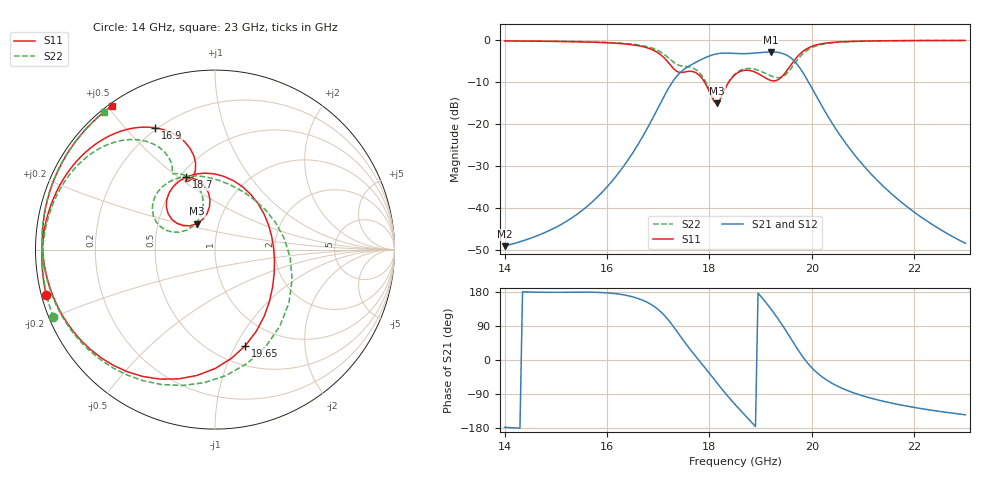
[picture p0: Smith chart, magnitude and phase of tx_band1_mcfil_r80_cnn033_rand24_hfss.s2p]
! Touchstone file exported from HFSS 3D Layout Design 2026.1.0
!  File:  D:/Work/SIM/ADS_AUTO_SIM/projects/RFSOC_RF/TX_Fillter.aedt
!  Generated:  11:14:13 AM Aug 31, 2026
!  Design:  TX_BAND1_MCFIL_R80_CNN033
!  Project:  TX_Fillter
# GHz S MA R 50.000000
! Terminal data exported
! Port[1] = Port1
! Port[2] = Port2
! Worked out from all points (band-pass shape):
!   181 points, 14 GHz to 23 GHz, reference 50 ohm
!   highest |S21| = -2.87 dB at 19.2 GHz (marker M1); lowest = -49.2 dB at 14 GHz (marker M2)
!   |S21| within 3 dB of the highest: 17.65 GHz to 19.72 GHz (2.063 GHz wide, 11 % of centre)
!   lowest |S11| = -15.1 dB at 18.15 GHz (marker M3), VSWR 1.43, Z = 39.3 + j11.8 ohm
!   |S11| at or under -10 dB: 17.9 GHz to 18.38 GHz (479.7 MHz wide, 2.64 % of centre)
!   |S22| runs from -14.9 to -0.1 dB; largest |S21 - S12| = 3.6e-15
!   S11 on the Smith chart (normalised r, x): 14 GHz: 0.01, -0.13; 16.9 GHz: 0.19, +0.61; 18.7 GHz: 0.54, +0.53; 19.65 GHz: 0.70, -1.10; 23 GHz: 0.01, +0.51
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14  0.9734 -165.0  0.003474 -177.6  0.003474 -177.6  0.9757 -157.3
15.5  0.9475 164.9  0.009121 179.0  0.009121 179.0  0.9527 173.9
16.3  0.9004 142.4  0.02973 172.5  0.02973 172.5  0.9122 153.0
16.9  0.7565 116.2  0.1188 143.2  0.1188 143.2  0.7918 129.6
17  0.6991 110.8  0.156 133.2  0.156 133.2  0.7445 124.8
17.25  0.4924 102.7  0.2968 96.9  0.2968 96.9  0.5754 116.6
17.5  0.4123 113.0  0.4435 50.1  0.4435 50.1  0.4853 119.3
17.85  0.3521 98.6  0.587 -9.8  0.587 -9.8  0.377 105.6
18.15  0.1763 124.6  0.6834 -60.7  0.6834 -60.7  0.1792 132.7
18.3  0.2569 145.4  0.6967 -85.9  0.6967 -85.9  0.2567 157.8
18.5  0.3854 134.3  0.6901 -117.2  0.6901 -117.2  0.3923 151.2
18.7  0.4349 111.7  0.6862 -146.4  0.6862 -146.4  0.4533 134.3
18.95  0.3976 75.1  0.7022 176.5  0.7022 176.5  0.4356 109.7
19.2  0.3283 24.7  0.7186 135.0  0.7186 135.0  0.373 78.7
19.45  0.3839 -33.4  0.6831 86.8  0.6831 86.8  0.3698 23.8
19.65  0.5613 -72.5  0.5669 43.9  0.5669 43.9  0.508 -35.9
19.85  0.7486 -105.8  0.3865 3.7  0.3865 3.7  0.7046 -85.1
20  0.8378 -125.7  0.2674 -20.4  0.2674 -20.4  0.8082 -111.5
20.25  0.9112 -149.7  0.1431 -49.3  0.1431 -49.3  0.8974 -141.1
20.5  0.9428 -166.3  0.08133 -68.9  0.08133 -68.9  0.9363 -160.2
21.5  0.9777 156.3  0.01571 -112.1  0.01571 -112.1  0.9774 159.8
23  0.9853 125.8  0.003758 -144.6  0.003758 -144.6  0.9854 128.8
